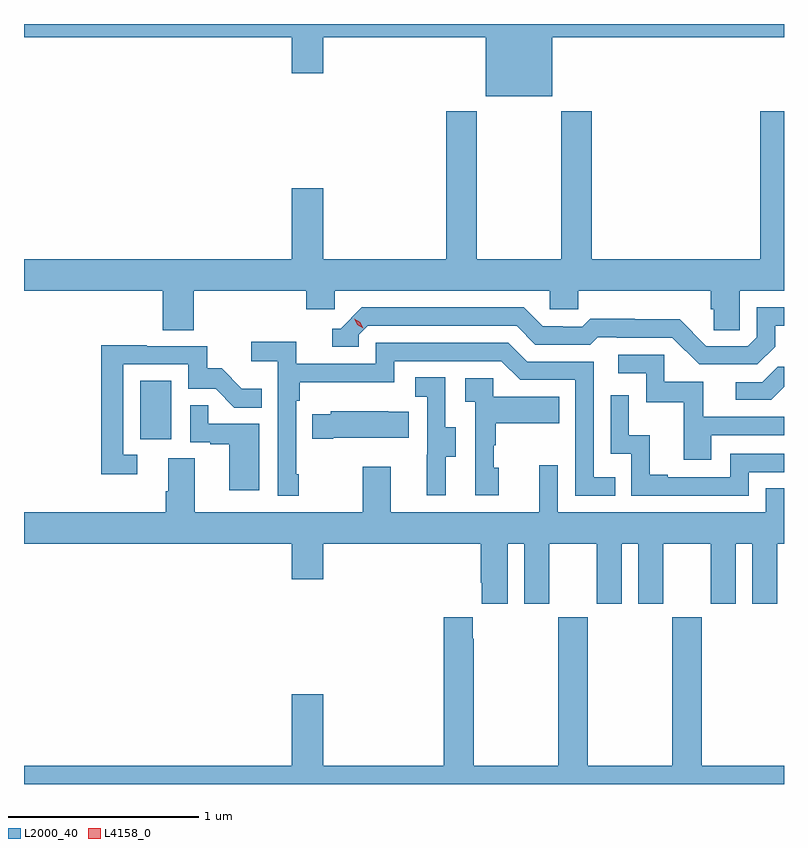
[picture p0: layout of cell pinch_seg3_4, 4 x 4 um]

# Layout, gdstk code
import gdstk
lib = gdstk.Library(unit=1e-6, precision=1e-09)
def R(c, l, rs):  # rectangles x0, y0, x1, y1
    for r in rs: c.add(gdstk.rectangle(r[:2], r[2:], *l))
def P(c, l, *ps):  # polygons
    for p in ps: c.add(gdstk.Polygon(p, *l))
L2000_40 = (2000, 40)
L4158_0 = (4158, 0)

pinch_seg3_4 = lib.new_cell('pinch_seg3_4')
R(pinch_seg3_4, L2000_40, [(1141.232,734.766,1141.396,735.073)])
P(pinch_seg3_4, L2000_40, [(1143.4,736.88),(1144.62,736.88),(1144.62,736.951),(1140.62,736.951),(1140.62,736.88),(1142.03,736.88),(1142.03,736.692),(1142.194,736.692),(1142.194,736.88),(1143.05,736.88),(1143.05,736.571),(1143.4,736.571)],
  [(1141.514,735.548),(1142.105,735.548),(1142.105,735.45),(1142.256,735.45),(1142.256,735.548),(1143.387,735.548),(1143.387,735.45),(1143.537,735.45),(1143.537,735.548),(1144.235,735.548),(1144.235,735.45),(1144.249,735.45),(1144.249,735.34),(1144.386,735.34),(1144.386,735.548),(1144.62,735.548),(1144.62,736.491),(1144.496,736.491),(1144.496,735.712),(1143.608,735.712),(1143.608,736.492),(1143.448,736.492),(1143.448,735.712),(1143.003,735.712),(1143.003,736.492),(1142.843,736.492),(1142.843,735.712),(1142.194,735.712),(1142.194,736.087),(1142.03,736.087),(1142.03,735.712),(1140.62,735.712),(1140.62,735.548),(1141.349,735.548),(1141.349,735.34),(1141.514,735.34)],
  [(1144.573,735.253),(1144.573,735.363),(1144.62,735.363),(1144.62,735.459),(1144.476,735.459),(1144.476,735.303),(1144.428,735.255),(1144.212,735.255),(1144.07,735.397),(1143.834,735.397),(1143.834,735.4),(1143.601,735.4),(1143.559,735.357),(1143.456,735.357),(1143.456,735.36),(1143.349,735.36),(1143.25,735.459),(1142.397,735.459),(1142.286,735.348),(1142.243,735.348),(1142.243,735.252),(1142.382,735.252),(1142.382,735.315),(1142.43,735.363),(1143.213,735.363),(1143.312,735.264),(1143.601,735.264),(1143.64,735.303),(1143.739,735.303),(1143.739,735.3),(1144.032,735.3),(1144.173,735.159),(1144.479,735.159)],
  [(1142.065,734.581),(1142.052,734.581),(1142.052,734.969),(1142.072,734.969),(1142.072,735.065),(1142.568,735.065),(1142.568,735.177),(1143.132,735.177),(1143.231,735.078),(1143.522,735.078),(1143.522,734.469),(1143.731,734.469),(1143.731,734.565),(1143.618,734.565),(1143.618,735.174),(1143.268,735.174),(1143.169,735.273),(1142.472,735.273),(1142.472,735.162),(1142.054,735.162),(1142.054,735.278),(1141.815,735.278),(1141.815,735.176),(1141.956,735.176),(1141.956,734.469),(1142.065,734.469)],
  [(1141.216,734.685),(1141.143,734.685),(1141.143,735.159),(1141.485,735.159),(1141.485,735.03),(1141.629,735.03),(1141.727,734.932),(1141.871,734.932),(1141.871,735.031),(1141.767,735.031),(1141.66,735.138),(1141.584,735.138),(1141.584,735.255),(1141.265,735.255),(1141.265,735.26),(1141.027,735.26),(1141.027,734.58),(1141.216,734.58)],
  [(1144.237,734.787),(1144.62,734.787),(1144.62,734.883),(1144.195,734.883),(1144.195,735.069),(1143.99,735.069),(1143.99,735.21),(1143.747,735.21),(1143.747,735.114),(1143.894,735.114),(1143.894,734.961),(1144.093,734.961),(1144.093,734.658),(1144.237,734.658)],
  [(1144.62,735.041),(1144.62,735.146),(1144.586,735.146),(1144.506,735.066),(1144.365,735.066),(1144.365,734.973),(1144.552,734.973)],
  [(1142.839,734.674),(1142.893,734.674),(1142.893,734.829),(1142.838,734.829),(1142.838,735.092),(1142.679,735.092),(1142.679,734.989),(1142.742,734.989),(1142.742,734.685),(1142.741,734.685),(1142.741,734.472),(1142.839,734.472)],
  [(1143.118,734.616),(1143.093,734.616),(1143.093,734.735),(1143.103,734.735),(1143.103,734.849),(1143.437,734.849),(1143.437,734.989),(1143.09,734.989),(1143.09,735.087),(1142.943,735.087),(1142.943,734.963),(1142.994,734.963),(1142.994,734.472),(1143.118,734.472)],
  [(1144.434,734.592),(1144.62,734.592),(1144.62,734.688),(1144.338,734.688),(1144.338,734.565),(1144.009,734.565),(1144.009,734.578),(1143.914,734.578),(1143.914,734.786),(1143.804,734.786),(1143.804,734.998),(1143.708,734.998),(1143.708,734.688),(1143.816,734.688),(1143.816,734.469),(1144.434,734.469)],
  [(1141.858,734.847),(1141.589,734.847),(1141.589,734.945),(1141.494,734.945),(1141.494,734.751),(1141.601,734.751),(1141.601,734.739),(1141.7,734.739),(1141.7,734.496),(1141.858,734.496)],
  [(1142.248,734.774),(1142.645,734.774),(1142.645,734.911),(1142.537,734.911),(1142.537,734.914),(1142.235,734.914),(1142.235,734.896),(1142.137,734.896),(1142.137,734.767),(1142.248,734.767)],
  [(1143.166,734.216),(1143.254,734.216),(1143.254,733.899),(1143.385,733.899),(1143.385,734.216),(1143.635,734.216),(1143.635,733.899),(1143.766,733.899),(1143.766,734.216),(1143.854,734.216),(1143.854,733.899),(1143.985,733.899),(1143.985,734.216),(1144.235,734.216),(1144.235,733.899),(1144.366,733.899),(1144.366,734.216),(1144.454,734.216),(1144.454,733.899),(1144.585,733.899),(1144.585,734.216),(1144.62,734.216),(1144.62,734.507),(1144.524,734.507),(1144.524,734.38),(1143.429,734.38),(1143.429,734.629),(1143.332,734.629),(1143.332,734.38),(1142.551,734.38),(1142.551,734.62),(1142.404,734.62),(1142.404,734.38),(1141.519,734.38),(1141.519,734.666),(1141.379,734.666),(1141.379,734.492),(1141.367,734.492),(1141.367,734.38),(1140.62,734.38),(1140.62,734.216),(1142.03,734.216),(1142.03,734.028),(1142.194,734.028),(1142.194,734.216),(1143.023,734.216),(1143.023,734.011),(1143.029,734.011),(1143.029,733.899),(1143.166,733.899)],
  [(1144.62,733.048),(1144.188,733.048),(1144.188,733.828),(1144.033,733.828),(1144.033,733.048),(1143.588,733.048),(1143.588,733.828),(1143.433,733.828),(1143.433,733.048),(1142.988,733.048),(1142.988,733.715),(1142.983,733.715),(1142.983,733.828),(1142.828,733.828),(1142.828,733.048),(1142.194,733.048),(1142.194,733.423),(1142.03,733.423),(1142.03,733.048),(1140.62,733.048),(1140.62,732.951),(1144.62,732.951)])
P(pinch_seg3_4, L4158_0, [(1142.405,735.349),(1142.375,735.368),(1142.359,735.401),(1142.359,735.401),(1142.359,735.401),(1142.39,735.382),(1142.406,735.349),(1142.406,735.349)])

lib.write_gds('pinch_seg3_4.gds')
